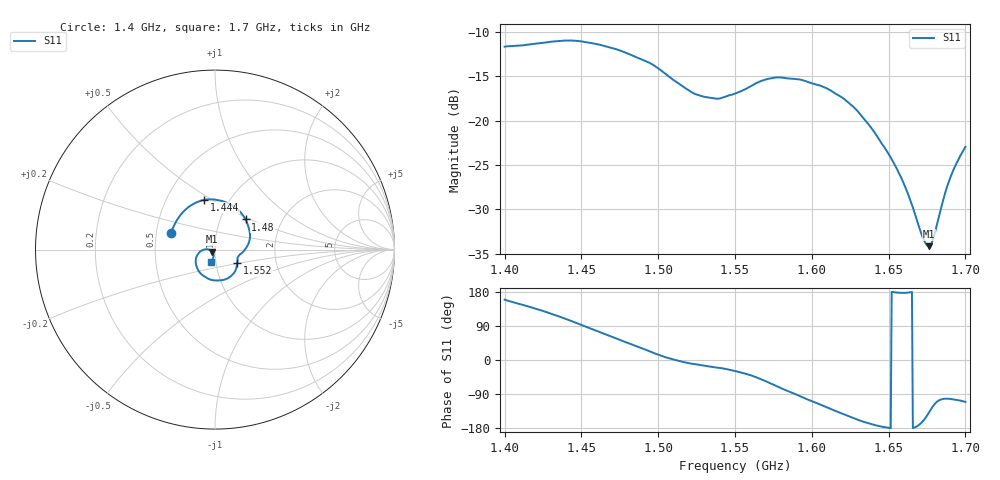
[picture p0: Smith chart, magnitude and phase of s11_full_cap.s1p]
# GHZ S RI R 50.000000000000
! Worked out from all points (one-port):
!   501 points, 1.4 GHz to 1.7 GHz, reference 50 ohm
!   lowest |S11| = -34.2 dB at 1.676 GHz (marker M1), VSWR 1.04, Z = 48.5 - j1.2 ohm
!   |S11| at or under -10 dB: start of sweep to end of sweep
!   S11 on the Smith chart (normalised r, x): 1.4 GHz: 0.60, +0.12; 1.444 GHz: 0.77, +0.46; 1.48 GHz: 1.32, +0.47; 1.552 GHz: 1.27, -0.19; 1.7 GHz: 0.94, -0.13
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1.4  -0.2448 0.0922
1.4198  -0.1953 0.189
1.4378  -0.1039 0.2628
1.4438  -0.0606 0.2768
1.4582  0.0489 0.2681
1.475  0.1497 0.1993
1.4804  0.1702 0.1677
1.496  0.1953 0.0722
1.5128  0.1632 -0.0049
1.523  0.1403 -0.026
1.5314  0.1306 -0.037
1.5392  0.1247 -0.0467
1.55  0.1242 -0.0689
1.5518  0.1239 -0.0738
1.5716  0.0892 -0.1474
1.5878  0.00754 -0.1721
1.6088  -0.0845 -0.1281
1.625  -0.1074 -0.0621
1.6376  -0.0917 -0.02
1.6478  -0.0695 -0.00322
1.6556  -0.053 0.00191
1.6628  -0.0382 0.00137
1.6724  -0.0205 -0.00707
1.676  -0.0152 -0.0124
1.679  -0.0112 -0.0183
1.6862  -0.00801 -0.0365
1.6904  -0.0109 -0.0471
1.7  -0.025 -0.0667
